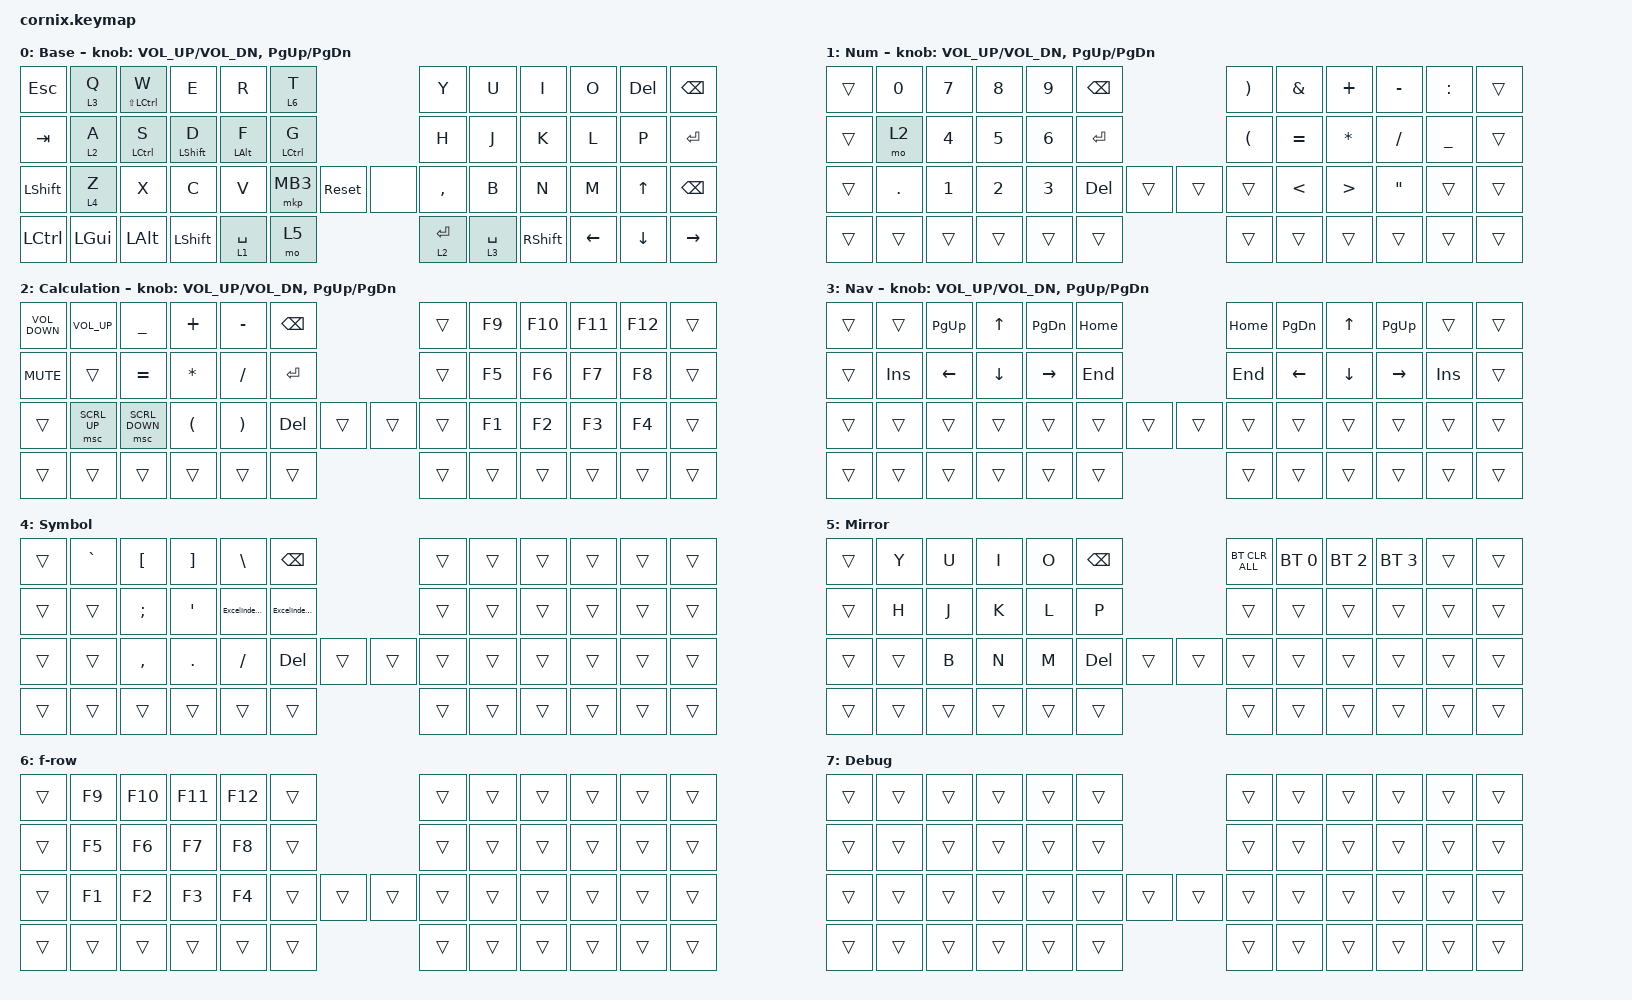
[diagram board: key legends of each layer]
/*
 * Copyright (c) 2020 The ZMK Contributors
 *
 * SPDX-License-Identifier: MIT
 */

#include "zmk-helpers/helper.h"
#include "includes/cornix54.h"

// tap windows for ctl alt and gui

#define HM_TAPPING_TERM 250
#define HM_TAPPING_REPEAT 210

// quick tapping for shift

#define HM_TAPPING_TERM_FAST 200
#define HM_PRIOR_IDLE 70
#define BASE 0
#define WIN 1
#define LOWER 2
#define RAISE 3
#define ADJUST 4
#define NAVI   5
#define NUM    6
#define DEBUG  7

// https://github.com/urob/zmk-config/tree/main#timeless-homerow-mods

#define KEYS_L LT0 LT1 LT2 LT3 LT4 LT5 LM0 LM1 LM2 LM3 LM4 LM5 LB0 LB1 LB2 LB3 LB4 LB5  // left hand
#define KEYS_R RT0 RT1 RT2 RT3 RT4 RT5 RM0 RM1 RM2 RM3 RM4 RM5 RB0 RB1 RB2 RB3 RB4 RB5  // right hand
#define THUMBS LH1 LH0 RH0 RH1
#define KEYS_T LH1 LH0 RH0 RH1
#define ZMK_POINTING_DEFAULT_SCRL_VAL 15

#include <behaviors.dtsi>
#include <dt-bindings/zmk/bt.h>
#include <dt-bindings/zmk/keys.h>
#include <dt-bindings/zmk/pointing.h>

&lt { require-prior-idle-ms = <100>; };

&mt { flavor = "tap-preferred"; };

/ {
    // Activate ADJUST layer by pressing raise and lower

    behaviors {
        // Positional Homerow mods for shift
        // Use faster tapping term and disable some features that may
        // cause false negatives.
        /*
         * Non-Positional Homerow Mods
         * Used for &mm_grescm_gui behavior on left hand.
         *
         * Usage: &hm LSHFT T
         * Tap: T
         * Tap-Tap-Hold: Repeat T
         * Hold: LSHIFT
         */
    };

    conditional_layers { compatible = "zmk,conditional-layers"; };

    combos {
        compatible = "zmk,combos";

        cb_ltm {
            bindings = <&kp ESC>;
            key-positions = <4 3>;
            layers = <0>;
            require-prior-idle-ms = <100>;
        };

        cb_tab {
            bindings = <&kp TAB>;
            key-positions = <27 28>;
            layers = <0>;
            require-prior-idle-ms = <100>;
        };
    };

    macros {
        ExcelIndentLeft: ExcelIndentLeft {
            compatible = "zmk,behavior-macro";
            #binding-cells = <0>;
            bindings = <&kp LEFT_ALT &kp H &kp N5>;
            label = "EXCELINDENTLEFT";
        };

        ExcelIndentRight: ExcelIndentRight {
            compatible = "zmk,behavior-macro";
            #binding-cells = <0>;
            bindings = <&kp LEFT_ALT &kp H &kp NUMBER_6>;
            label = "EXCELINDENTRIGHT";
        };
    };

    keymap {
        compatible = "zmk,keymap";

        default_layer {
            display-name = "Base";

            // ------------------------------------------------------------------------------------------------------------
            // |   `   |  1  |  2  |  3   |  4   |  5   |                   |  6   |  7    |  8    |  9   |   0   |       |
            // |  ESC  |  Q  |  W  |  E   |  R   |  T   |                   |  Y   |  U    |  I    |  O   |   P   | BKSPC |
            // |  TAB  |  A  |  S  |  D   |  F   |  G   |                   |  H   |  J    |  K    |  L   |   ;   |   '   |
            // | SHIFT |  Z  |  X  |  C   |  V   |  B   |  MUTE  |  |       |  N   |  M    |  ,    |  .   |   /   | SHIFT |
            //               | GUI | ALT  | CTRL | LOWER|  ENTER |  | SPACE | RAISE| CTRL  | ALT   | GUI  |

            bindings = <
&kp ESC    &lt 3 Q   &mt LS(LEFT_CONTROL) W  &kp E             &kp R           &lt 6 T                                &kp Y        &kp U        &kp I            &kp O     &kp DEL   &kp BSPC
&kp TAB    &lt 2 A   &mt LEFT_CONTROL S      &mt LEFT_SHIFT D  &mt LEFT_ALT F  &mt LEFT_CONTROL G                     &kp H        &kp J        &kp K            &kp L     &kp P     &kp RET
&kp LSHFT  &lt 4 Z   &kp X                   &kp C             &kp V           &mkp MB3            &sys_reset  &none  &kp COMMA    &kp B        &kp N            &kp M     &kp UP    &kp BACKSPACE
&kp LCTRL  &kp LGUI  &kp LALT                &kp LSHFT         &lt 1 SPACE     &mo 5                                  &lt 2 ENTER  &lt 3 SPACE  &kp RIGHT_SHIFT  &kp LEFT  &kp DOWN  &kp RIGHT
            >;

            sensor-bindings = <&inc_dec_kp C_VOL_UP C_VOL_DN &inc_dec_kp PG_UP PG_DN>;
        };

        Num {
            display-name = "Num";

            // ------------------------------------------------------------------------------------------------------------
            // |   `   |  1  |  2  |  3   |  4   |  5   |                   |  6   |  7    |  8    |  9   |   0   |       |
            // |  ESC  |  Q  |  W  |  E   |  R   |  T   |                   |  Y   |  U    |  I    |  O   |   P   | BKSPC |
            // |  TAB  |  A  |  S  |  D   |  F   |  G   |                   |  H   |  J    |  K    |  L   |   ;   |   '   |
            // | SHIFT |  Z  |  X  |  C   |  V   |  B   |  MUTE  |  |       |  N   |  M    |  ,    |  .   |   /   | SHIFT |
            //               | GUI | ALT  | CTRL | LOWER|  ENTER |  | SPACE | RAISE| CTRL  | ALT   | GUI  |

            bindings = <
&trans  &kp N0   &kp N7  &kp N8  &kp N9  &kp BSPC                    &kp RIGHT_PARENTHESIS  &kp AMPERSAND  &kp PLUS          &kp MINUS          &kp COLON       &trans
&trans  &mo 2    &kp N4  &kp N5  &kp N6  &kp RET                     &kp LEFT_PARENTHESIS   &kp EQUAL      &kp STAR          &kp FSLH           &kp UNDERSCORE  &trans
&trans  &kp DOT  &kp N1  &kp N2  &kp N3  &kp DELETE  &trans  &trans  &trans                 &kp LESS_THAN  &kp GREATER_THAN  &kp DOUBLE_QUOTES  &trans          &trans
&trans  &trans   &trans  &trans  &trans  &trans                      &trans                 &trans         &trans            &trans             &trans          &trans
            >;

            sensor-bindings = <&inc_dec_kp C_VOL_UP C_VOL_DN &inc_dec_kp PG_UP PG_DN>;
        };

        Calculation {
            display-name = "Calculation";

            // TODO: Some binds are waiting for shifted keycode support.
            // -------------------------------
            // |       |  F1 |  F2 |  F3  |  F4  |  F5  |                   |  F6  |  F7   |  F8   |  F9  |  F10  |  F11  |
            // |   `   |  1  |  2  |  3   |  4   |  5   |                   |  6   |  7    |  8    |  9   |   0   |  F12  |
            // |       |  !  |  @  |  #   |  $   |  %   |                   |  ^   |  &    |  *    |  (   |   )   |   |   |
            // |       |  =  |  -  |  +   |  {   |  }   |        |  |       |  [   |  ]    |  ;    |  :   |   \   |       |
            //               |     |      |      |      |        |  |       |      |       |       |      |

            bindings = <
&kp C_VOLUME_DOWN  &kp C_VOLUME_UP  &kp UNDERSCORE  &kp PLUS              &kp MINUS              &kp BSPC                  &trans  &kp F9  &kp F10  &kp F11  &kp F12  &trans
&kp K_MUTE         &trans           &kp EQUAL       &kp ASTERISK          &kp SLASH              &kp RET                   &trans  &kp F5  &kp F6   &kp F7   &kp F8   &trans
&trans             &msc SCRL_UP     &msc SCRL_DOWN  &kp LEFT_PARENTHESIS  &kp RIGHT_PARENTHESIS  &kp DEL   &trans  &trans  &trans  &kp F1  &kp F2   &kp F3   &kp F4   &trans
&trans             &trans           &trans          &trans                &trans                 &trans                    &trans  &trans  &trans   &trans   &trans   &trans
            >;

            sensor-bindings = <&inc_dec_kp C_VOL_UP C_VOL_DN &inc_dec_kp PG_UP PG_DN>;
        };

        Nav {
            display-name = "Nav";

            // ------------------------------------------------------------------------------------------------------------
            // | BTCLR | BT1  | BT2  |  BT3  |  BT4  |  BT5 |                |      |      |       |      |       |       |
            // |       | INS  | PSCR | GUI   |       |      |                | PGUP |      |   ^   |      |       |       |
            // |       | ALT  | CTRL | SHIFT |       | CAPS |                | PGDN |   <- |   v   |  ->  |  DEL  | BKSPC |
            // |       | UNDO | CUT  | COPY  | PASTE |      |      |  |      |      |      |       |      |       |       |
            //                |      |       |       |      |      |  |      |      |      |       |      |

            bindings = <
&trans  &trans      &kp PG_UP  &kp UP    &kp PG_DN  &kp HOME                  &kp HOME  &kp PAGE_DOWN  &kp UP    &kp PAGE_UP  &trans      &trans
&trans  &kp INSERT  &kp LEFT   &kp DOWN  &kp RIGHT  &kp END                   &kp END   &kp LEFT       &kp DOWN  &kp RIGHT    &kp INSERT  &trans
&trans  &trans      &trans     &trans    &trans     &trans    &trans  &trans  &trans    &trans         &trans    &trans       &trans      &trans
&trans  &trans      &trans     &trans    &trans     &trans                    &trans    &trans         &trans    &trans       &trans      &trans
            >;

            sensor-bindings = <&inc_dec_kp C_VOL_UP C_VOL_DN &inc_dec_kp PG_UP PG_DN>;
        };

        Symbol {
            display-name = "Symbol";

            // ----------------------------------------------------------------------------------------------------------------------------
            // | BTCLR  |  BT1    |  BT2    |   BT3   |   BT4   |   BT5   |                  |      |      |       |      |       |       |
            // | moDEBUG| RGB_HUD | RGB_HUI | RGB_SAD | RGB_SAI | RGB_EFF |                  |      |      |       |      |       |       |
            // | EXTPWR | RGB_BRD | RGB_BRI |         |         |         |                  |      |      |       |      |       |       |
            // |        |         |         |         |         |         | RGB_TOG | |      |      |      |       |      |       |       |
            //                    |         |         |         |         |         | |      |      |      |       |      |

            bindings = <
&trans  &kp GRAVE  &kp LBKT   &kp RBKT  &kp BSLH          &kp BSPC                           &trans  &trans  &trans  &trans  &trans  &trans
&trans  &trans     &kp SEMI   &kp SQT   &ExcelIndentLeft  &ExcelIndentRight                  &trans  &trans  &trans  &trans  &trans  &trans
&trans  &trans     &kp COMMA  &kp DOT   &kp FSLH          &kp DEL            &trans  &trans  &trans  &trans  &trans  &trans  &trans  &trans
&trans  &trans     &trans     &trans    &trans            &trans                             &trans  &trans  &trans  &trans  &trans  &trans
            >;
        };

        Mirror {
            display-name = "Mirror";
            bindings = <
&trans  &kp Y   &kp U   &kp I   &kp O   &kp BSPC                  &bt BT_CLR_ALL  &bt BT_SEL 0  &bt BT_SEL 2  &bt BT_SEL 3  &trans  &trans
&trans  &kp H   &kp J   &kp K   &kp L   &kp P                     &trans          &trans        &trans        &trans        &trans  &trans
&trans  &trans  &kp B   &kp N   &kp M   &kp DEL   &trans  &trans  &trans          &trans        &trans        &trans        &trans  &trans
&trans  &trans  &trans  &trans  &trans  &trans                    &trans          &trans        &trans        &trans        &trans  &trans
            >;
        };

        f-row {
            display-name = "f-row";
            bindings = <
&trans  &kp F9  &kp F10  &kp F11  &kp F12  &trans                  &trans  &trans  &trans  &trans  &trans  &trans
&trans  &kp F5  &kp F6   &kp F7   &kp F8   &trans                  &trans  &trans  &trans  &trans  &trans  &trans
&trans  &kp F1  &kp F2   &kp F3   &kp F4   &trans  &trans  &trans  &trans  &trans  &trans  &trans  &trans  &trans
&trans  &trans  &trans   &trans   &trans   &trans                  &trans  &trans  &trans  &trans  &trans  &trans
            >;
        };

        Debug_layer {
            display-name = "Debug";

            // ----------------------------------------------------------------------------------------------------------------------------
            // | BTCLR  |  BT1    |  BT2    |   BT3   |   BT4   |   BT5   |                  |      |      |       |      |       |       |
            // | EXTPWR | BTCLR | RGB_HUI | RGB_SAD | RGB_SAI | RGB_EFF |                  |      |      |       |      |       |       |
            // |        | RGB_BRD | RGB_BRI |         |         |         |                  |      |      |       |      |       |       |
            // |        |         |         |         |         |         | RGB_TOG | |      |      |      |       |      |       |       |
            //                    |         |         |         |         |         | |      |      |      |       |      |

            bindings = <
&trans  &trans  &trans  &trans  &trans  &trans                  &trans  &trans  &trans  &trans  &trans  &trans
&trans  &trans  &trans  &trans  &trans  &trans                  &trans  &trans  &trans  &trans  &trans  &trans
&trans  &trans  &trans  &trans  &trans  &trans  &trans  &trans  &trans  &trans  &trans  &trans  &trans  &trans
&trans  &trans  &trans  &trans  &trans  &trans                  &trans  &trans  &trans  &trans  &trans  &trans
            >;
        };
    };
};
